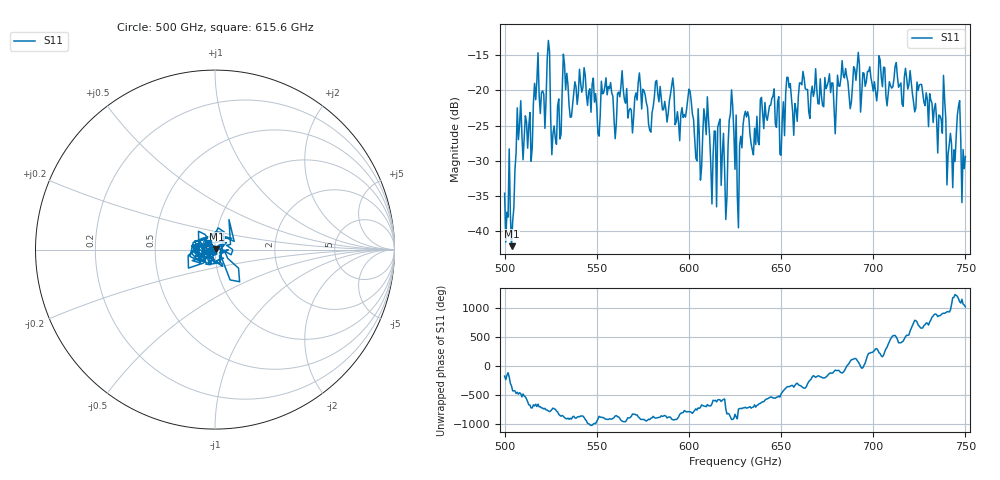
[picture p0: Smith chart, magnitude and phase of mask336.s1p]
!Created with skrf (http://scikit-rf.org).
# GHz S MA R 50.0
!freq magS11 angS11
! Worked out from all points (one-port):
!   401 points, 500 GHz to 750 GHz, reference 50 ohm
!   lowest |S11| = -42.1 dB at 503.8 GHz (marker M1), VSWR 1.02, Z = 50.7 + j0.253 ohm
!   |S11| at or under -10 dB: start of sweep to end of sweep
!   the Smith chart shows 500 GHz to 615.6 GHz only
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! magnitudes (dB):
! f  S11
! 500 GHz  -34.6
! 503.8 GHz  -42.1
! 507.5 GHz  -27.0
! 513.8 GHz  -23.2
! 516.9 GHz  -21.3
! 523.8 GHz  -12.9
! 526.9 GHz  -25.1
! 531.2 GHz  -20.1
! 562.5 GHz  -20.9
! 578.8 GHz  -25.7
! 590.6 GHz  -19.4
! 593.8 GHz  -23.0
! 600.6 GHz  -20.1
! 605.6 GHz  -26.4
! 609.4 GHz  -26.3
! 619.4 GHz  -31.4
! 622.5 GHz  -23.4
! 625 GHz  -31.2
! 627.5 GHz  -27.8
! 631.2 GHz  -23.8
! 635 GHz  -29.2
! 656.2 GHz  -23.0
! 687.5 GHz  -22.6
! 718.8 GHz  -19.8
! 738.1 GHz  -17.9
! 743.1 GHz  -33.8
! 746.2 GHz  -22.3
! 750 GHz  -29.4
